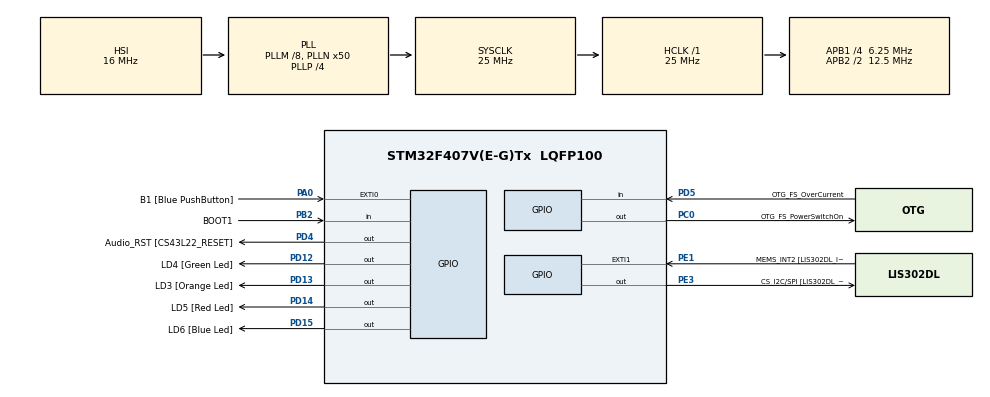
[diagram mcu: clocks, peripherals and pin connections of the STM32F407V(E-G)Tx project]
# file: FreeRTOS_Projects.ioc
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Mcu.Family=STM32F4
PA11.GPIO_Speed=GPIO_SPEED_FREQ_LOW
PC3.GPIO_Mode=GPIO_MODE_AF_PP
PD12.GPIO_Label=LD4 [Green Led]
PH0-OSC_IN.Signal=RCC_OSC_IN
VP_SYS_VS_tim6.Mode=TIM6
RCC.CortexFreq_Value=25000000
PC10.GPIO_PuPd=GPIO_NOPULL
PB10.GPIO_Speed=GPIO_SPEED_FREQ_LOW
PB6.GPIO_Mode=GPIO_MODE_AF_OD
PB10.GPIO_PuPd=GPIO_NOPULL
NVIC.TIM6_DAC_IRQn=true\:0\:0\:false\:false\:true\:false\:true
PA10.GPIO_PuPd=GPIO_NOPULL
PD15.GPIO_Speed=GPIO_SPEED_FREQ_LOW
PC10.Signal=I2S3_CK
PC12.Signal=I2S3_SD
PA14.GPIO_Label=SWCLK
PA7.GPIO_Mode=GPIO_MODE_AF_PP
PC0.GPIO_Label=OTG_FS_PowerSwitchOn
PA6.GPIO_Label=SPI1_MISO [LIS302DL_SDO]
PB6.GPIO_Label=Audio_SCL [CS43L22_SCL]
PC10.GPIO_Speed=GPIO_SPEED_FREQ_LOW
PA11.GPIO_PuPd=GPIO_NOPULL
PC15-OSC32_OUT.GPIO_Label=PC15-OSC32_OUT
PC3.GPIO_Speed=GPIO_SPEED_FREQ_LOW
RCC.SYSCLKSource=RCC_SYSCLKSOURCE_PLLCLK
ProjectManager.StackSize=0x400
PA6.GPIO_Mode=GPIO_MODE_AF_PP
PD13.Signal=GPIO_Output
PD14.GPIO_Speed=GPIO_SPEED_FREQ_LOW
PA12.Signal=USB_OTG_FS_DP
RCC.HCLKFreq_Value=25000000
PD4.Signal=GPIO_Output
RCC.APB2TimFreq_Value=25000000
PB6.Signal=I2C1_SCL
PC7.Signal=I2S3_MCK
PC3.Signal=I2S2_SD
PE1.Signal=GPXTI1
RCC.AHBFreq_Value=25000000
PH0-OSC_IN.GPIO_Label=PH0-OSC_IN
PA9.GPIO_Mode=GPIO_MODE_INPUT
RCC.HSE_VALUE=8000000
PA4.GPIO_PuPd=GPIO_NOPULL
PB2.Signal=GPIO_Input
PA4.GPIO_Speed=GPIO_SPEED_FREQ_LOW
PA6.GPIO_PuPd=GPIO_NOPULL
PA5.GPIO_PuPd=GPIO_NOPULL
PA10.GPIO_Label=OTG_FS_ID
PC7.GPIO_Mode=GPIO_MODE_AF_PP
PD5.GPIO_Mode=GPIO_MODE_INPUT
PD14.GPIO_PuPd=GPIO_NOPULL
PB2.GPIO_PuPd=GPIO_NOPULL
PD13.GPIO_Label=LD3 [Orange Led]
Mcu.Package=LQFP100
PB9.Signal=I2C1_SDA
PA6.Signal=SPI1_MISO
NVIC.TimeBase=TIM6_DAC_IRQn
PD12.Signal=GPIO_Output
PD5.GPIO_Label=OTG_FS_OverCurrent
PD15.GPIO_PuPd=GPIO_NOPULL
NVIC.TimeBaseIP=TIM6
PA10.Signal=USB_OTG_FS_ID
PB9.GPIO_PuPd=GPIO_NOPULL
PA10.GPIO_Speed=GPIO_SPEED_FREQ_LOW
RCC.APB2CLKDivider=RCC_HCLK_DIV2
PB9.GPIO_Speed=GPIO_SPEED_FREQ_LOW
RCC.APB1TimFreq_Value=12500000
PC14-OSC32_IN.GPIO_Label=PC14-OSC32_IN
PC12.GPIO_PuPd=GPIO_NOPULL
PA6.GPIO_Speed=GPIO_SPEED_FREQ_LOW
PC0.GPIO_PuPd=GPIO_NOPULL
PA12.GPIO_PuPd=GPIO_NOPULL
PA4.GPIO_Label=I2S3_WS [CS43L22_LRCK]
PD15.Signal=GPIO_Output
PC0.PinState=GPIO_PIN_SET
PA12.GPIO_Speed=GPIO_SPEED_FREQ_LOW
PB3.GPIO_Label=SWO
PD12.GPIO_Speed=GPIO_SPEED_FREQ_LOW
PD15.GPIO_Label=LD6 [Blue Led]
PB9.GPIO_Label=Audio_SDA [CS43L22_SDA]
PC10.GPIO_Label=I2S3_SCK [CS43L22_SCLK]
PA9.GPIO_Label=VBUS_FS
PB6.GPIO_PuPd=GPIO_NOPULL
PA11.GPIO_Label=OTG_FS_DM
PE1.GPIO_PuPd=GPIO_NOPULL
PD5.Signal=GPIO_Input
PC0.Signal=GPIO_Output
PE1.GPIO_ModeDefaultEXTI=GPIO_MODE_EVT_RISING
RCC.APB1CLKDivider=RCC_HCLK_DIV4
PC14-OSC32_IN.Signal=RCC_OSC32_IN
PA9.GPIO_PuPd=GPIO_NOPULL
PA12.GPIO_Label=OTG_FS_DP
PA0-WKUP.GPIO_Label=B1 [Blue PushButton]
PA0-WKUP.Signal=GPXTI0
PA10.GPIO_Mode=GPIO_MODE_AF_PP
PA13.Signal=SYS_JTMS-SWDIO
PC10.GPIO_Mode=GPIO_MODE_AF_PP
PD4.GPIO_PuPd=GPIO_NOPULL
PC0.GPIO_Speed=GPIO_SPEED_FREQ_LOW
PB10.GPIO_Mode=GPIO_MODE_AF_PP
ProjectManager.TargetToolchain=STM32CubeIDE
PB10.GPIO_Label=CLK_IN [MP45DT02_CLK]
PA9.Signal=USB_OTG_FS_VBUS
PC7.GPIO_PuPd=GPIO_NOPULL
RCC.LSE_VALUE=32768
PC15-OSC32_OUT.Signal=RCC_OSC32_OUT
PA7.GPIO_PuPd=GPIO_NOPULL
PB10.Signal=I2S2_CK
PA5.Signal=SPI1_SCK
board=STM32F407G-DISC1
PD13.GPIO_Speed=GPIO_SPEED_FREQ_LOW
PC7.GPIO_Speed=GPIO_SPEED_FREQ_LOW
RCC.VCOOutputFreq_Value=100000000
PE1.GPIO_Label=MEMS_INT2 [LIS302DL_INT2]
PA7.GPIO_Speed=GPIO_SPEED_FREQ_LOW
PB9.GPIO_Mode=GPIO_MODE_AF_OD
PA12.GPIO_Mode=GPIO_MODE_AF_PP
PA4.GPIO_Mode=GPIO_MODE_AF_PP
RCC.APB2Freq_Value=12500000
PB2.GPIO_Mode=GPIO_MODE_INPUT
PD4.GPIO_Label=Audio_RST [CS43L22_RESET]
PD4.GPIO_Speed=GPIO_SPEED_FREQ_LOW
PE3.GPIO_PuPd=GPIO_NOPULL
PH1-OSC_OUT.Signal=RCC_OSC_OUT
PD13.GPIO_PuPd=GPIO_NOPULL
PD5.GPIO_PuPd=GPIO_NOPULL
PD14.GPIO_Label=LD5 [Red Led]
PH1-OSC_OUT.GPIO_Label=PH1-OSC_OUT
Mcu.Name=STM32F407V(E-G)Tx
PA13.GPIO_Label=SWDIO
PC7.GPIO_Label=I2S3_MCK [CS43L22_MCLK]
PD14.Signal=GPIO_Output
RCC.48MHZClocksFreq_Value=14285714.285714285
PB3.Signal=SYS_JTDO-SWO
PA4.Signal=I2S3_WS
RCC.SYSCLKFreq_VALUE=25000000
PC12.GPIO_Mode=GPIO_MODE_AF_PP
PA7.GPIO_Label=SPI1_MOSI [LIS302DL_SDA/SDI/SDO]
PA5.GPIO_Label=SPI1_SCK [LIS302DL_SCL/SPC]
PE3.GPIO_Speed=GPIO_SPEED_FREQ_LOW
PC12.GPIO_Label=I2S3_SD [CS43L22_SDIN]
PA11.Signal=USB_OTG_FS_DM
PA14.Signal=SYS_JTCK-SWCLK
PB2.GPIO_Label=BOOT1
ProjectManager.HeapSize=0x200
RCC.HSI_VALUE=16000000
RCC.PLLP=RCC_PLLP_DIV4
PA5.GPIO_Speed=GPIO_SPEED_FREQ_LOW
RCC.PLLQ=7
NVIC.PriorityGroup=NVIC_PRIORITYGROUP_4
RCC.PLLM=8
RCC.PLLN=50
PE3.Signal=GPIO_Output
PE3.GPIO_Label=CS_I2C/SPI [LIS302DL_CS_I2C/SPI]
PC3.GPIO_Label=PDM_OUT [MP45DT02_DOUT]
PA11.GPIO_Mode=GPIO_MODE_AF_PP
PB6.GPIO_Speed=GPIO_SPEED_FREQ_LOW
RCC.APB1Freq_Value=6250000
PA5.GPIO_Mode=GPIO_MODE_AF_PP
PC12.GPIO_Speed=GPIO_SPEED_FREQ_LOW
PC3.GPIO_PuPd=GPIO_NOPULL
PD12.GPIO_PuPd=GPIO_NOPULL
PA7.Signal=SPI1_MOSI

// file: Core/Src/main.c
/* USER CODE BEGIN Header */
/**
  ******************************************************************************
  * @file           : main.c
  * @brief          : Main program body
  ******************************************************************************
  * @attention
  *
  * <h2><center>&copy; Copyright (c) 2021 STMicroelectronics.
  * All rights reserved.</center></h2>
  *
  * This software component is licensed by ST under BSD 3-Clause license,
  * the "License"; You may not use this file except in compliance with the
  * License. You may obtain a copy of the License at:
  *                        opensource.org/licenses/BSD-3-Clause
  *
  ******************************************************************************
  */
/* USER CODE END Header */
#include "main.h"

/* USER CODE BEGIN Includes */
#include <stdio.h>
#include "FreeRTOS.h"
#include "task.h"

/* USER CODE END Includes */

/* USER CODE BEGIN PV */
#define DWT_CTRL    (*(volatile uint32_t*)0xE0001000)

/* USER CODE END PV */

void SystemClock_Config(void);
static void MX_GPIO_Init(void);
/* USER CODE BEGIN PFP */
static void task1_handler(void* parameters);
static void task2_handler(void* parameters);
/* USER CODE END PFP */

int main(void)
{
  /* USER CODE BEGIN 1 */
  TaskHandle_t task1_handle;
  TaskHandle_t task2_handle;

  BaseType_t status;

  /* USER CODE END 1 */

  /* MCU Configuration--------------------------------------------------------*/

  /* Reset of all peripherals, Initializes the Flash interface and the Systick. */
  HAL_Init();

  /* Configure the system clock */
  SystemClock_Config();

  /* Initialize all configured peripherals */
  MX_GPIO_Init();

  /* USER CODE BEGIN 2 */

  //Enable the CYCCNT counter.
  DWT_CTRL |= ( 1 << 0);

  //SEGGER_UART_init(500000);

  //SEGGER_SYSVIEW_Conf();

  //SEGGER_SYSVIEW_Start();

  status = xTaskCreate(task1_handler, "Task-1", 200, "Hello world from Task-1", 2, &task1_handle);

  configASSERT(status == pdPASS);

  status = xTaskCreate(task2_handler, "Task-2", 200, "Hello world from Task-2", 2, &task2_handle);

  configASSERT(status == pdPASS);

  //start the freeRTOS scheduler
  vTaskStartScheduler();
  //if the control comes here, then the launch of the scheduler has failed due to
  //insufficient memory in heap

  /* USER CODE END 2 */

  /* Infinite loop */
  while (1)
  {

  }
}

void SystemClock_Config(void)
{
  RCC_OscInitTypeDef RCC_OscInitStruct = {0};
  RCC_ClkInitTypeDef RCC_ClkInitStruct = {0};

  /** Configure the main internal regulator output voltage
  */
  __HAL_RCC_PWR_CLK_ENABLE();
  __HAL_PWR_VOLTAGESCALING_CONFIG(PWR_REGULATOR_VOLTAGE_SCALE1);
  /** Initializes the RCC Oscillators according to the specified parameters
  * in the RCC_OscInitTypeDef structure.
  */
  RCC_OscInitStruct.OscillatorType = RCC_OSCILLATORTYPE_HSI;
  RCC_OscInitStruct.HSIState = RCC_HSI_ON;
  RCC_OscInitStruct.HSICalibrationValue = RCC_HSICALIBRATION_DEFAULT;
  RCC_OscInitStruct.PLL.PLLState = RCC_PLL_ON;
  RCC_OscInitStruct.PLL.PLLSource = RCC_PLLSOURCE_HSI;
  RCC_OscInitStruct.PLL.PLLM = 8;
  RCC_OscInitStruct.PLL.PLLN = 50;
  RCC_OscInitStruct.PLL.PLLP = RCC_PLLP_DIV4;
  RCC_OscInitStruct.PLL.PLLQ = 7;
  if (HAL_RCC_OscConfig(&RCC_OscInitStruct) != HAL_OK)
  {
    Error_Handler();
  }
  /** Initializes the CPU, AHB and APB buses clocks
  */
  RCC_ClkInitStruct.ClockType = RCC_CLOCKTYPE_HCLK|RCC_CLOCKTYPE_SYSCLK
                              |RCC_CLOCKTYPE_PCLK1|RCC_CLOCKTYPE_PCLK2;
  RCC_ClkInitStruct.SYSCLKSource = RCC_SYSCLKSOURCE_PLLCLK;
  RCC_ClkInitStruct.AHBCLKDivider = RCC_SYSCLK_DIV1;
  RCC_ClkInitStruct.APB1CLKDivider = RCC_HCLK_DIV4;
  RCC_ClkInitStruct.APB2CLKDivider = RCC_HCLK_DIV2;

  if (HAL_RCC_ClockConfig(&RCC_ClkInitStruct, FLASH_LATENCY_0) != HAL_OK)
  {
    Error_Handler();
  }
}

static void MX_GPIO_Init(void)
{
  GPIO_InitTypeDef GPIO_InitStruct = {0};

  /* GPIO Ports Clock Enable */
  __HAL_RCC_GPIOE_CLK_ENABLE();
  __HAL_RCC_GPIOC_CLK_ENABLE();
  __HAL_RCC_GPIOH_CLK_ENABLE();
  __HAL_RCC_GPIOA_CLK_ENABLE();
  __HAL_RCC_GPIOB_CLK_ENABLE();
  __HAL_RCC_GPIOD_CLK_ENABLE();

  /*Configure GPIO pin Output Level */
  HAL_GPIO_WritePin(CS_I2C_SPI_GPIO_Port, CS_I2C_SPI_Pin, GPIO_PIN_RESET);

  /*Configure GPIO pin Output Level */
  HAL_GPIO_WritePin(OTG_FS_PowerSwitchOn_GPIO_Port, OTG_FS_PowerSwitchOn_Pin, GPIO_PIN_SET);

  /*Configure GPIO pin Output Level */
  HAL_GPIO_WritePin(GPIOD, LD4_Pin|LD3_Pin|LD5_Pin|LD6_Pin
                          |Audio_RST_Pin, GPIO_PIN_RESET);

  /*Configure GPIO pin : CS_I2C_SPI_Pin */
  GPIO_InitStruct.Pin = CS_I2C_SPI_Pin;
  GPIO_InitStruct.Mode = GPIO_MODE_OUTPUT_PP;
  GPIO_InitStruct.Pull = GPIO_NOPULL;
  GPIO_InitStruct.Speed = GPIO_SPEED_FREQ_LOW;
  HAL_GPIO_Init(CS_I2C_SPI_GPIO_Port, &GPIO_InitStruct);

  /*Configure GPIO pin : OTG_FS_PowerSwitchOn_Pin */
  GPIO_InitStruct.Pin = OTG_FS_PowerSwitchOn_Pin;
  GPIO_InitStruct.Mode = GPIO_MODE_OUTPUT_PP;
  GPIO_InitStruct.Pull = GPIO_NOPULL;
  GPIO_InitStruct.Speed = GPIO_SPEED_FREQ_LOW;
  HAL_GPIO_Init(OTG_FS_PowerSwitchOn_GPIO_Port, &GPIO_InitStruct);

  /*Configure GPIO pin : PDM_OUT_Pin */
  GPIO_InitStruct.Pin = PDM_OUT_Pin;
  GPIO_InitStruct.Mode = GPIO_MODE_AF_PP;
  GPIO_InitStruct.Pull = GPIO_NOPULL;
  GPIO_InitStruct.Speed = GPIO_SPEED_FREQ_LOW;
  GPIO_InitStruct.Alternate = GPIO_AF5_SPI2;
  HAL_GPIO_Init(PDM_OUT_GPIO_Port, &GPIO_InitStruct);

  /*Configure GPIO pin : B1_Pin */
  GPIO_InitStruct.Pin = B1_Pin;
  GPIO_InitStruct.Mode = GPIO_MODE_IT_RISING;
  GPIO_InitStruct.Pull = GPIO_NOPULL;
  HAL_GPIO_Init(B1_GPIO_Port, &GPIO_InitStruct);

  /*Configure GPIO pin : I2S3_WS_Pin */
  GPIO_InitStruct.Pin = I2S3_WS_Pin;
  GPIO_InitStruct.Mode = GPIO_MODE_AF_PP;
  GPIO_InitStruct.Pull = GPIO_NOPULL;
  GPIO_InitStruct.Speed = GPIO_SPEED_FREQ_LOW;
  GPIO_InitStruct.Alternate = GPIO_AF6_SPI3;
  HAL_GPIO_Init(I2S3_WS_GPIO_Port, &GPIO_InitStruct);

  /*Configure GPIO pins : SPI1_SCK_Pin SPI1_MISO_Pin SPI1_MOSI_Pin */
  GPIO_InitStruct.Pin = SPI1_SCK_Pin|SPI1_MISO_Pin|SPI1_MOSI_Pin;
  GPIO_InitStruct.Mode = GPIO_MODE_AF_PP;
  GPIO_InitStruct.Pull = GPIO_NOPULL;
  GPIO_InitStruct.Speed = GPIO_SPEED_FREQ_LOW;
  GPIO_InitStruct.Alternate = GPIO_AF5_SPI1;
  HAL_GPIO_Init(GPIOA, &GPIO_InitStruct);

  /*Configure GPIO pin : BOOT1_Pin */
  GPIO_InitStruct.Pin = BOOT1_Pin;
  GPIO_InitStruct.Mode = GPIO_MODE_INPUT;
  GPIO_InitStruct.Pull = GPIO_NOPULL;
  HAL_GPIO_Init(BOOT1_GPIO_Port, &GPIO_InitStruct);

  /*Configure GPIO pin : CLK_IN_Pin */
  GPIO_InitStruct.Pin = CLK_IN_Pin;
  GPIO_InitStruct.Mode = GPIO_MODE_AF_PP;
  GPIO_InitStruct.Pull = GPIO_NOPULL;
  GPIO_InitStruct.Speed = GPIO_SPEED_FREQ_LOW;
  GPIO_InitStruct.Alternate = GPIO_AF5_SPI2;
  HAL_GPIO_Init(CLK_IN_GPIO_Port, &GPIO_InitStruct);

  /*Configure GPIO pins : LD4_Pin LD3_Pin LD5_Pin LD6_Pin
                           Audio_RST_Pin */
  GPIO_InitStruct.Pin = LD4_Pin|LD3_Pin|LD5_Pin|LD6_Pin
                          |Audio_RST_Pin;
  GPIO_InitStruct.Mode = GPIO_MODE_OUTPUT_PP;
  GPIO_InitStruct.Pull = GPIO_NOPULL;
  GPIO_InitStruct.Speed = GPIO_SPEED_FREQ_LOW;
  HAL_GPIO_Init(GPIOD, &GPIO_InitStruct);

  /*Configure GPIO pins : I2S3_MCK_Pin I2S3_SCK_Pin I2S3_SD_Pin */
  GPIO_InitStruct.Pin = I2S3_MCK_Pin|I2S3_SCK_Pin|I2S3_SD_Pin;
  GPIO_InitStruct.Mode = GPIO_MODE_AF_PP;
  GPIO_InitStruct.Pull = GPIO_NOPULL;
  GPIO_InitStruct.Speed = GPIO_SPEED_FREQ_LOW;
  GPIO_InitStruct.Alternate = GPIO_AF6_SPI3;
  HAL_GPIO_Init(GPIOC, &GPIO_InitStruct);

  /*Configure GPIO pin : VBUS_FS_Pin */
  GPIO_InitStruct.Pin = VBUS_FS_Pin;
  GPIO_InitStruct.Mode = GPIO_MODE_INPUT;
  GPIO_InitStruct.Pull = GPIO_NOPULL;
  HAL_GPIO_Init(VBUS_FS_GPIO_Port, &GPIO_InitStruct);

  /*Configure GPIO pins : OTG_FS_ID_Pin OTG_FS_DM_Pin OTG_FS_DP_Pin */
  GPIO_InitStruct.Pin = OTG_FS_ID_Pin|OTG_FS_DM_Pin|OTG_FS_DP_Pin;
  GPIO_InitStruct.Mode = GPIO_MODE_AF_PP;
  GPIO_InitStruct.Pull = GPIO_NOPULL;
  GPIO_InitStruct.Speed = GPIO_SPEED_FREQ_LOW;
  GPIO_InitStruct.Alternate = GPIO_AF10_OTG_FS;
  HAL_GPIO_Init(GPIOA, &GPIO_InitStruct);

  /*Configure GPIO pin : OTG_FS_OverCurrent_Pin */
  GPIO_InitStruct.Pin = OTG_FS_OverCurrent_Pin;
  GPIO_InitStruct.Mode = GPIO_MODE_INPUT;
  GPIO_InitStruct.Pull = GPIO_NOPULL;
  HAL_GPIO_Init(OTG_FS_OverCurrent_GPIO_Port, &GPIO_InitStruct);

  /*Configure GPIO pins : Audio_SCL_Pin Audio_SDA_Pin */
  GPIO_InitStruct.Pin = Audio_SCL_Pin|Audio_SDA_Pin;
  GPIO_InitStruct.Mode = GPIO_MODE_AF_OD;
  GPIO_InitStruct.Pull = GPIO_PULLUP;
  GPIO_InitStruct.Speed = GPIO_SPEED_FREQ_LOW;
  GPIO_InitStruct.Alternate = GPIO_AF4_I2C1;
  HAL_GPIO_Init(GPIOB, &GPIO_InitStruct);

  /*Configure GPIO pin : MEMS_INT2_Pin */
  GPIO_InitStruct.Pin = MEMS_INT2_Pin;
  GPIO_InitStruct.Mode = GPIO_MODE_EVT_RISING;
  GPIO_InitStruct.Pull = GPIO_NOPULL;
  HAL_GPIO_Init(MEMS_INT2_GPIO_Port, &GPIO_InitStruct);

}

/* USER CODE BEGIN 4 */
static void task1_handler(void* parameters)
{

	//char msg[100];

	while(1)
	{
		printf("%s\r\n", (char*) parameters); //through SWO

		//snprintf(msg,100,"%s\n", (char*)parameters);

		//SEGGER_SYSVIEW_PrintfTarget(msg);

		taskYIELD(); //leave processor
	}

}

static void task2_handler(void* parameters)
{
	//char msg[100];

	while(1)
	{
		printf("%s\r\n", (char*) parameters);

		//snprintf(msg,100,"%s\n", (char*)parameters);

		//SEGGER_SYSVIEW_PrintfTarget(msg);

		taskYIELD();
	}

}

/* USER CODE END 4 */

 /**
  * @brief  Period elapsed callback in non blocking mode
  * @note   This function is called  when TIM6 interrupt took place, inside
  * HAL_TIM_IRQHandler(). It makes a direct call to HAL_IncTick() to increment
  * a global variable "uwTick" used as application time base.
  * @param  htim : TIM handle
  * @retval None
  */
void HAL_TIM_PeriodElapsedCallback(TIM_HandleTypeDef *htim)
{
  if (htim->Instance == TIM6) {
    HAL_IncTick();
  }
}

void Error_Handler(void)
{
  __disable_irq();
  while (1)
  {
  }
}

/************************ (C) COPYRIGHT STMicroelectronics *****END OF FILE****/
